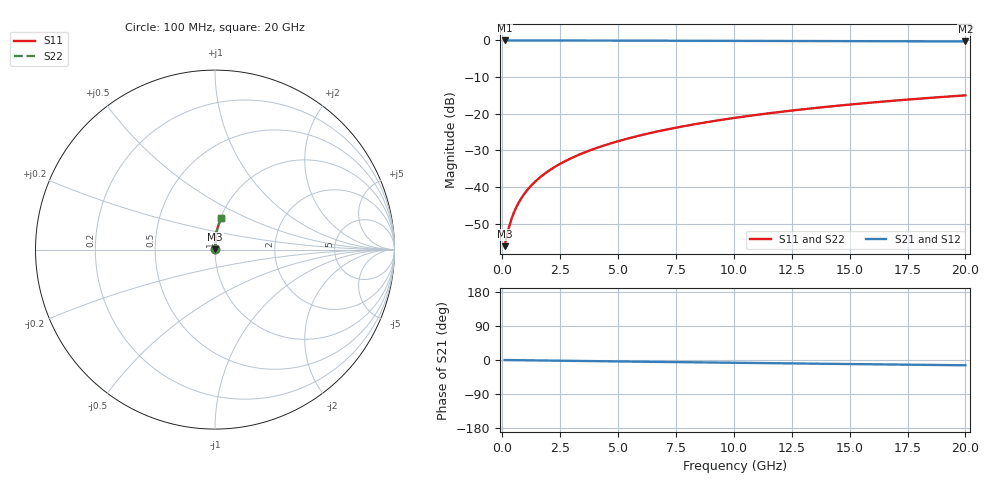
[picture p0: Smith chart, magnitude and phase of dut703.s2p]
! Touchstone file exported from HFSS 2024.1.0
!  File:  C:/UserFiles/LocalFiles/RDL_TSV_Batchsim/temp_RDL_top_703_1779849779.aedt
!  Generated:  10:46:06 AM May 27, 2026
!  Design:  RDL_top
!  Project:  temp_RDL_top_703_1779849779
!  Setup:  Setup1
!  Solution:  Sweep
! Variables:
!  dtsv = 10.80580581um
!  hbump = 3um
!  htsv = 57.97um
!  ldown = 100um
!  lrdl = 139.06um
!  p = 40
!  p1 = 53.24um
!  rhole = 1um
!  t = 450um
!  tdown = 3.915915916um
!  trdl = 2.58um
!  wdown = 15.38538539um
!  wrdl = 19.09um
# GHz S MA R 50.000000
! Terminal data exported
! Port[1] = Box2_T1
! Port[2] = Box2_T2
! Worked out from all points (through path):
!   200 points, 100 MHz to 20 GHz, reference 50 ohm
!   highest |S21| = -0.01 dB at 100 MHz (marker M1); lowest = -0.3 dB at 20 GHz (marker M2)
!   group delay of S21, straight-line fit = 1.93 ps
!   lowest |S11| = -56.1 dB at 100 MHz (marker M3), VSWR 1.00, Z = 50.1 + j0.0875 ohm
!   |S11| at or under -10 dB: start of sweep to end of sweep
!   |S22| runs from -56.1 to -15.0 dB; largest |S21 - S12| = 4.1e-15
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0.1  0.001569 33.8  0.9987 -0.1  0.9987 -0.1  0.001569 33.8
! Gamma 0 0 0 0
! Port Impedance 50 0 50 0
0.2  0.002187 52.6  0.9987 -0.2  0.9987 -0.2  0.002187 52.6
0.3  0.002926 62.3  0.9986 -0.2  0.9986 -0.2  0.002926 62.3
0.4  0.003704 67.9  0.9986 -0.3  0.9986 -0.3  0.003704 67.9
0.5  0.004495 71.5  0.9985 -0.4  0.9985 -0.4  0.004495 71.5
0.6  0.00529 74.1  0.9985 -0.5  0.9985 -0.5  0.00529 74.1
0.8  0.006889 77.5  0.9984 -0.6  0.9984 -0.6  0.006889 77.5
1.1  0.009304 80.6  0.9982 -0.9  0.9982 -0.9  0.009304 80.6
1.5  0.01256 82.9  0.998 -1.2  0.998 -1.2  0.01256 82.9
1.8  0.01502 84.1  0.9978 -1.4  0.9978 -1.4  0.01502 84.1
2.1  0.01749 84.9  0.9976 -1.6  0.9976 -1.6  0.01749 84.9
2.7  0.0225 86.1  0.9971 -2.1  0.9971 -2.1  0.0225 86.1
3.5  0.02927 86.9  0.9962 -2.7  0.9962 -2.7  0.02927 86.9
4.2  0.03529 87.3  0.9954 -3.2  0.9954 -3.2  0.03529 87.3
5  0.04228 87.5  0.9943 -3.8  0.9943 -3.8  0.04228 87.5
5.9  0.05026 87.4  0.993 -4.4  0.993 -4.4  0.05025 87.4
6.8  0.05834 87.3  0.9916 -5.1  0.9916 -5.1  0.05834 87.3
8.4  0.0729 86.6  0.989 -6.2  0.989 -6.2  0.0729 86.6
10.1  0.08853 85.7  0.9861 -7.4  0.9861 -7.4  0.08853 85.7
13.4  0.1189 83.4  0.9803 -9.6  0.9803 -9.6  0.1189 83.4
16.7  0.149 81.1  0.9742 -11.8  0.9742 -11.8  0.149 81.1
20  0.1784 78.7  0.9677 -14.0  0.9677 -14.0  0.1784 78.7
